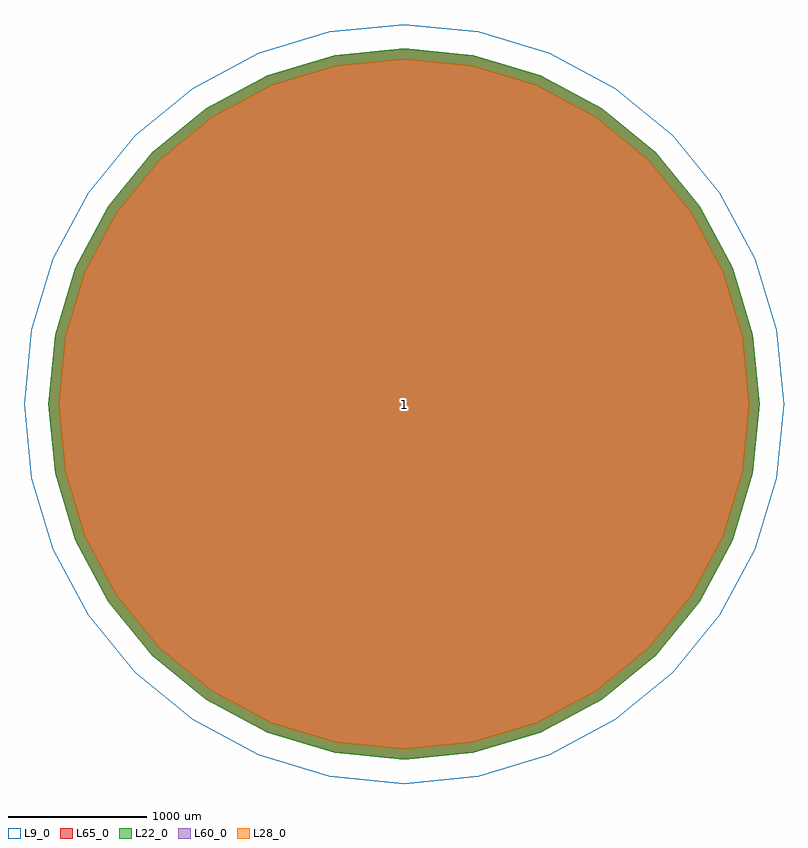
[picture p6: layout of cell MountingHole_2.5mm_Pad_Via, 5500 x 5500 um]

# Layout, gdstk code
import gdstk
lib = gdstk.Library(unit=1e-6, precision=1e-09)
def P(c, l, *ps):  # polygons
    for p in ps: c.add(gdstk.Polygon(p, *l))
L9_0 = (9, 0)
L22_0 = (22, 0)
L28_0 = (28, 0)
L60_0 = (60, 0)
L65_0 = (65, 0)

mountinghole_2_5mm_pad_v = lib.new_cell('MountingHole_2.5mm_Pad_Via')
P(mountinghole_2_5mm_pad_v, L9_0, [(2750,0),(2697.16,536.498),(2540.669,1052.379),(2286.541,1527.818),(1944.544,1944.544),(1527.818,2286.541),(1052.379,2540.669),(536.498,2697.16),(0,2750),(-536.498,2697.16),(-1052.379,2540.669),(-1527.818,2286.541),(-1944.544,1944.544),(-2286.541,1527.818),(-2540.669,1052.379),(-2697.16,536.498),(-2750,0),(-2697.16,-536.498),(-2540.669,-1052.379),(-2286.541,-1527.818),(-1944.544,-1944.544),(-1527.818,-2286.541),(-1052.379,-2540.669),(-536.498,-2697.16),(0,-2750),(536.498,-2697.16),(1052.379,-2540.669),(1527.818,-2286.541),(1944.544,-1944.544),(2286.541,-1527.818),(2540.669,-1052.379),(2697.16,-536.498)],
  [(2500,0),(2451.963,487.726),(2309.699,956.709),(2078.674,1388.926),(1767.767,1767.767),(1388.926,2078.674),(956.709,2309.699),(487.726,2451.963),(0,2500),(-487.726,2451.963),(-956.709,2309.699),(-1388.926,2078.674),(-1767.767,1767.767),(-2078.674,1388.926),(-2309.699,956.709),(-2451.963,487.726),(-2500,0),(-2451.963,-487.726),(-2309.699,-956.709),(-2078.674,-1388.926),(-1767.767,-1767.767),(-1388.926,-2078.674),(-956.709,-2309.699),(-487.726,-2451.963),(0,-2500),(487.726,-2451.963),(956.709,-2309.699),(1388.926,-2078.674),(1767.767,-1767.767),(2078.674,-1388.926),(2309.699,-956.709),(2451.963,-487.726)])
P(mountinghole_2_5mm_pad_v, L22_0, [(1700.825,1325.825),(1693.619,1398.984),(1672.28,1469.331),(1637.626,1534.164),(1590.99,1590.99),(1534.164,1637.626),(1469.331,1672.28),(1398.984,1693.619),(1325.825,1700.825),(1252.666,1693.619),(1182.319,1672.28),(1117.486,1637.626),(1060.66,1590.99),(1014.024,1534.164),(979.37,1469.331),(958.031,1398.984),(950.825,1325.825),(958.031,1252.666),(979.37,1182.319),(1014.024,1117.486),(1060.66,1060.66),(1117.486,1014.024),(1182.319,979.37),(1252.666,958.031),(1325.825,950.825),(1398.984,958.031),(1469.331,979.37),(1534.164,1014.024),(1590.99,1060.66),(1637.626,1117.486),(1672.28,1182.319),(1693.619,1252.666)],
  [(375,1875),(367.794,1948.159),(346.455,2018.506),(311.801,2083.339),(265.165,2140.165),(208.339,2186.801),(143.506,2221.455),(73.159,2242.794),(0,2250),(-73.159,2242.794),(-143.506,2221.455),(-208.339,2186.801),(-265.165,2140.165),(-311.801,2083.339),(-346.455,2018.506),(-367.794,1948.159),(-375,1875),(-367.794,1801.841),(-346.455,1731.494),(-311.801,1666.661),(-265.165,1609.835),(-208.339,1563.199),(-143.506,1528.545),(-73.159,1507.206),(0,1500),(73.159,1507.206),(143.506,1528.545),(208.339,1563.199),(265.165,1609.835),(311.801,1666.661),(346.455,1731.494),(367.794,1801.841)],
  [(-950.825,1325.825),(-958.031,1398.984),(-979.37,1469.331),(-1014.024,1534.164),(-1060.66,1590.99),(-1117.486,1637.626),(-1182.319,1672.28),(-1252.666,1693.619),(-1325.825,1700.825),(-1398.984,1693.619),(-1469.331,1672.28),(-1534.164,1637.626),(-1590.99,1590.99),(-1637.626,1534.164),(-1672.28,1469.331),(-1693.619,1398.984),(-1700.825,1325.825),(-1693.619,1252.666),(-1672.28,1182.319),(-1637.626,1117.486),(-1590.99,1060.66),(-1534.164,1014.024),(-1469.331,979.37),(-1398.984,958.031),(-1325.825,950.825),(-1252.666,958.031),(-1182.319,979.37),(-1117.486,1014.024),(-1060.66,1060.66),(-1014.024,1117.486),(-979.37,1182.319),(-958.031,1252.666)],
  [(-1500,0),(-1507.206,73.159),(-1528.545,143.506),(-1563.199,208.339),(-1609.835,265.165),(-1666.661,311.801),(-1731.494,346.455),(-1801.841,367.794),(-1875,375),(-1948.159,367.794),(-2018.506,346.455),(-2083.339,311.801),(-2140.165,265.165),(-2186.801,208.339),(-2221.455,143.506),(-2242.794,73.159),(-2250,0),(-2242.794,-73.159),(-2221.455,-143.506),(-2186.801,-208.339),(-2140.165,-265.165),(-2083.339,-311.801),(-2018.506,-346.455),(-1948.159,-367.794),(-1875,-375),(-1801.841,-367.794),(-1731.494,-346.455),(-1666.661,-311.801),(-1609.835,-265.165),(-1563.199,-208.339),(-1528.545,-143.506),(-1507.206,-73.159)],
  [(-950.825,-1325.825),(-958.031,-1252.666),(-979.37,-1182.319),(-1014.024,-1117.486),(-1060.66,-1060.66),(-1117.486,-1014.024),(-1182.319,-979.37),(-1252.666,-958.031),(-1325.825,-950.825),(-1398.984,-958.031),(-1469.331,-979.37),(-1534.164,-1014.024),(-1590.99,-1060.66),(-1637.626,-1117.486),(-1672.28,-1182.319),(-1693.619,-1252.666),(-1700.825,-1325.825),(-1693.619,-1398.984),(-1672.28,-1469.331),(-1637.626,-1534.164),(-1590.99,-1590.99),(-1534.164,-1637.626),(-1469.331,-1672.28),(-1398.984,-1693.619),(-1325.825,-1700.825),(-1252.666,-1693.619),(-1182.319,-1672.28),(-1117.486,-1637.626),(-1060.66,-1590.99),(-1014.024,-1534.164),(-979.37,-1469.331),(-958.031,-1398.984)],
  [(375,-1875),(367.794,-1801.841),(346.455,-1731.494),(311.801,-1666.661),(265.165,-1609.835),(208.339,-1563.199),(143.506,-1528.545),(73.159,-1507.206),(0,-1500),(-73.159,-1507.206),(-143.506,-1528.545),(-208.339,-1563.199),(-265.165,-1609.835),(-311.801,-1666.661),(-346.455,-1731.494),(-367.794,-1801.841),(-375,-1875),(-367.794,-1948.159),(-346.455,-2018.506),(-311.801,-2083.339),(-265.165,-2140.165),(-208.339,-2186.801),(-143.506,-2221.455),(-73.159,-2242.794),(0,-2250),(73.159,-2242.794),(143.506,-2221.455),(208.339,-2186.801),(265.165,-2140.165),(311.801,-2083.339),(346.455,-2018.506),(367.794,-1948.159)],
  [(1700.825,-1325.825),(1693.619,-1252.666),(1672.28,-1182.319),(1637.626,-1117.486),(1590.99,-1060.66),(1534.164,-1014.024),(1469.331,-979.37),(1398.984,-958.031),(1325.825,-950.825),(1252.666,-958.031),(1182.319,-979.37),(1117.486,-1014.024),(1060.66,-1060.66),(1014.024,-1117.486),(979.37,-1182.319),(958.031,-1252.666),(950.825,-1325.825),(958.031,-1398.984),(979.37,-1469.331),(1014.024,-1534.164),(1060.66,-1590.99),(1117.486,-1637.626),(1182.319,-1672.28),(1252.666,-1693.619),(1325.825,-1700.825),(1398.984,-1693.619),(1469.331,-1672.28),(1534.164,-1637.626),(1590.99,-1590.99),(1637.626,-1534.164),(1672.28,-1469.331),(1693.619,-1398.984)],
  [(2250,0),(2242.794,73.159),(2221.455,143.506),(2186.801,208.339),(2140.165,265.165),(2083.339,311.801),(2018.506,346.455),(1948.159,367.794),(1875,375),(1801.841,367.794),(1731.494,346.455),(1666.661,311.801),(1609.835,265.165),(1563.199,208.339),(1528.545,143.506),(1507.206,73.159),(1500,0),(1507.206,-73.159),(1528.545,-143.506),(1563.199,-208.339),(1609.835,-265.165),(1666.661,-311.801),(1731.494,-346.455),(1801.841,-367.794),(1875,-375),(1948.159,-367.794),(2018.506,-346.455),(2083.339,-311.801),(2140.165,-265.165),(2186.801,-208.339),(2221.455,-143.506),(2242.794,-73.159)],
  [(2575,0),(2525.522,502.358),(2378.99,985.41),(2141.034,1430.593),(1820.8,1820.8),(1430.593,2141.034),(985.41,2378.99),(502.358,2525.522),(0,2575),(-502.358,2525.522),(-985.41,2378.99),(-1430.593,2141.034),(-1820.8,1820.8),(-2141.034,1430.593),(-2378.99,985.41),(-2525.522,502.358),(-2575,0),(-2525.522,-502.358),(-2378.99,-985.41),(-2141.034,-1430.593),(-1820.8,-1820.8),(-1430.593,-2141.034),(-985.41,-2378.99),(-502.358,-2525.522),(0,-2575),(502.358,-2525.522),(985.41,-2378.99),(1430.593,-2141.034),(1820.8,-1820.8),(2141.034,-1430.593),(2378.99,-985.41),(2525.522,-502.358)])
P(mountinghole_2_5mm_pad_v, L28_0, [(1625.825,1325.825),(1620.061,1384.352),(1602.989,1440.63),(1575.266,1492.496),(1537.957,1537.957),(1492.496,1575.266),(1440.63,1602.989),(1384.352,1620.061),(1325.825,1625.825),(1267.298,1620.061),(1211.02,1602.989),(1159.154,1575.266),(1113.693,1537.957),(1076.384,1492.496),(1048.661,1440.63),(1031.589,1384.352),(1025.825,1325.825),(1031.589,1267.298),(1048.661,1211.02),(1076.384,1159.154),(1113.693,1113.693),(1159.154,1076.384),(1211.02,1048.661),(1267.298,1031.589),(1325.825,1025.825),(1384.352,1031.589),(1440.63,1048.661),(1492.496,1076.384),(1537.957,1113.693),(1575.266,1159.154),(1602.989,1211.02),(1620.061,1267.298)],
  [(300,1875),(294.236,1933.527),(277.164,1989.805),(249.441,2041.671),(212.132,2087.132),(166.671,2124.441),(114.805,2152.164),(58.527,2169.236),(0,2175),(-58.527,2169.236),(-114.805,2152.164),(-166.671,2124.441),(-212.132,2087.132),(-249.441,2041.671),(-277.164,1989.805),(-294.236,1933.527),(-300,1875),(-294.236,1816.473),(-277.164,1760.195),(-249.441,1708.329),(-212.132,1662.868),(-166.671,1625.559),(-114.805,1597.836),(-58.527,1580.764),(0,1575),(58.527,1580.764),(114.805,1597.836),(166.671,1625.559),(212.132,1662.868),(249.441,1708.329),(277.164,1760.195),(294.236,1816.473)],
  [(-1025.825,1325.825),(-1031.589,1384.352),(-1048.661,1440.63),(-1076.384,1492.496),(-1113.693,1537.957),(-1159.154,1575.266),(-1211.02,1602.989),(-1267.298,1620.061),(-1325.825,1625.825),(-1384.352,1620.061),(-1440.63,1602.989),(-1492.496,1575.266),(-1537.957,1537.957),(-1575.266,1492.496),(-1602.989,1440.63),(-1620.061,1384.352),(-1625.825,1325.825),(-1620.061,1267.298),(-1602.989,1211.02),(-1575.266,1159.154),(-1537.957,1113.693),(-1492.496,1076.384),(-1440.63,1048.661),(-1384.352,1031.589),(-1325.825,1025.825),(-1267.298,1031.589),(-1211.02,1048.661),(-1159.154,1076.384),(-1113.693,1113.693),(-1076.384,1159.154),(-1048.661,1211.02),(-1031.589,1267.298)],
  [(-1575,0),(-1580.764,58.527),(-1597.836,114.805),(-1625.559,166.671),(-1662.868,212.132),(-1708.329,249.441),(-1760.195,277.164),(-1816.473,294.236),(-1875,300),(-1933.527,294.236),(-1989.805,277.164),(-2041.671,249.441),(-2087.132,212.132),(-2124.441,166.671),(-2152.164,114.805),(-2169.236,58.527),(-2175,0),(-2169.236,-58.527),(-2152.164,-114.805),(-2124.441,-166.671),(-2087.132,-212.132),(-2041.671,-249.441),(-1989.805,-277.164),(-1933.527,-294.236),(-1875,-300),(-1816.473,-294.236),(-1760.195,-277.164),(-1708.329,-249.441),(-1662.868,-212.132),(-1625.559,-166.671),(-1597.836,-114.805),(-1580.764,-58.527)],
  [(-1025.825,-1325.825),(-1031.589,-1267.298),(-1048.661,-1211.02),(-1076.384,-1159.154),(-1113.693,-1113.693),(-1159.154,-1076.384),(-1211.02,-1048.661),(-1267.298,-1031.589),(-1325.825,-1025.825),(-1384.352,-1031.589),(-1440.63,-1048.661),(-1492.496,-1076.384),(-1537.957,-1113.693),(-1575.266,-1159.154),(-1602.989,-1211.02),(-1620.061,-1267.298),(-1625.825,-1325.825),(-1620.061,-1384.352),(-1602.989,-1440.63),(-1575.266,-1492.496),(-1537.957,-1537.957),(-1492.496,-1575.266),(-1440.63,-1602.989),(-1384.352,-1620.061),(-1325.825,-1625.825),(-1267.298,-1620.061),(-1211.02,-1602.989),(-1159.154,-1575.266),(-1113.693,-1537.957),(-1076.384,-1492.496),(-1048.661,-1440.63),(-1031.589,-1384.352)],
  [(300,-1875),(294.236,-1816.473),(277.164,-1760.195),(249.441,-1708.329),(212.132,-1662.868),(166.671,-1625.559),(114.805,-1597.836),(58.527,-1580.764),(0,-1575),(-58.527,-1580.764),(-114.805,-1597.836),(-166.671,-1625.559),(-212.132,-1662.868),(-249.441,-1708.329),(-277.164,-1760.195),(-294.236,-1816.473),(-300,-1875),(-294.236,-1933.527),(-277.164,-1989.805),(-249.441,-2041.671),(-212.132,-2087.132),(-166.671,-2124.441),(-114.805,-2152.164),(-58.527,-2169.236),(0,-2175),(58.527,-2169.236),(114.805,-2152.164),(166.671,-2124.441),(212.132,-2087.132),(249.441,-2041.671),(277.164,-1989.805),(294.236,-1933.527)],
  [(1625.825,-1325.825),(1620.061,-1267.298),(1602.989,-1211.02),(1575.266,-1159.154),(1537.957,-1113.693),(1492.496,-1076.384),(1440.63,-1048.661),(1384.352,-1031.589),(1325.825,-1025.825),(1267.298,-1031.589),(1211.02,-1048.661),(1159.154,-1076.384),(1113.693,-1113.693),(1076.384,-1159.154),(1048.661,-1211.02),(1031.589,-1267.298),(1025.825,-1325.825),(1031.589,-1384.352),(1048.661,-1440.63),(1076.384,-1492.496),(1113.693,-1537.957),(1159.154,-1575.266),(1211.02,-1602.989),(1267.298,-1620.061),(1325.825,-1625.825),(1384.352,-1620.061),(1440.63,-1602.989),(1492.496,-1575.266),(1537.957,-1537.957),(1575.266,-1492.496),(1602.989,-1440.63),(1620.061,-1384.352)],
  [(2175,0),(2169.236,58.527),(2152.164,114.805),(2124.441,166.671),(2087.132,212.132),(2041.671,249.441),(1989.805,277.164),(1933.527,294.236),(1875,300),(1816.473,294.236),(1760.195,277.164),(1708.329,249.441),(1662.868,212.132),(1625.559,166.671),(1597.836,114.805),(1580.764,58.527),(1575,0),(1580.764,-58.527),(1597.836,-114.805),(1625.559,-166.671),(1662.868,-212.132),(1708.329,-249.441),(1760.195,-277.164),(1816.473,-294.236),(1875,-300),(1933.527,-294.236),(1989.805,-277.164),(2041.671,-249.441),(2087.132,-212.132),(2124.441,-166.671),(2152.164,-114.805),(2169.236,-58.527)],
  [(2500,0),(2451.963,487.726),(2309.699,956.709),(2078.674,1388.926),(1767.767,1767.767),(1388.926,2078.674),(956.709,2309.699),(487.726,2451.963),(0,2500),(-487.726,2451.963),(-956.709,2309.699),(-1388.926,2078.674),(-1767.767,1767.767),(-2078.674,1388.926),(-2309.699,956.709),(-2451.963,487.726),(-2500,0),(-2451.963,-487.726),(-2309.699,-956.709),(-2078.674,-1388.926),(-1767.767,-1767.767),(-1388.926,-2078.674),(-956.709,-2309.699),(-487.726,-2451.963),(0,-2500),(487.726,-2451.963),(956.709,-2309.699),(1388.926,-2078.674),(1767.767,-1767.767),(2078.674,-1388.926),(2309.699,-956.709),(2451.963,-487.726)])
P(mountinghole_2_5mm_pad_v, L60_0, [(1625.825,1325.825),(1620.061,1384.352),(1602.989,1440.63),(1575.266,1492.496),(1537.957,1537.957),(1492.496,1575.266),(1440.63,1602.989),(1384.352,1620.061),(1325.825,1625.825),(1267.298,1620.061),(1211.02,1602.989),(1159.154,1575.266),(1113.693,1537.957),(1076.384,1492.496),(1048.661,1440.63),(1031.589,1384.352),(1025.825,1325.825),(1031.589,1267.298),(1048.661,1211.02),(1076.384,1159.154),(1113.693,1113.693),(1159.154,1076.384),(1211.02,1048.661),(1267.298,1031.589),(1325.825,1025.825),(1384.352,1031.589),(1440.63,1048.661),(1492.496,1076.384),(1537.957,1113.693),(1575.266,1159.154),(1602.989,1211.02),(1620.061,1267.298)],
  [(300,1875),(294.236,1933.527),(277.164,1989.805),(249.441,2041.671),(212.132,2087.132),(166.671,2124.441),(114.805,2152.164),(58.527,2169.236),(0,2175),(-58.527,2169.236),(-114.805,2152.164),(-166.671,2124.441),(-212.132,2087.132),(-249.441,2041.671),(-277.164,1989.805),(-294.236,1933.527),(-300,1875),(-294.236,1816.473),(-277.164,1760.195),(-249.441,1708.329),(-212.132,1662.868),(-166.671,1625.559),(-114.805,1597.836),(-58.527,1580.764),(0,1575),(58.527,1580.764),(114.805,1597.836),(166.671,1625.559),(212.132,1662.868),(249.441,1708.329),(277.164,1760.195),(294.236,1816.473)],
  [(-1025.825,1325.825),(-1031.589,1384.352),(-1048.661,1440.63),(-1076.384,1492.496),(-1113.693,1537.957),(-1159.154,1575.266),(-1211.02,1602.989),(-1267.298,1620.061),(-1325.825,1625.825),(-1384.352,1620.061),(-1440.63,1602.989),(-1492.496,1575.266),(-1537.957,1537.957),(-1575.266,1492.496),(-1602.989,1440.63),(-1620.061,1384.352),(-1625.825,1325.825),(-1620.061,1267.298),(-1602.989,1211.02),(-1575.266,1159.154),(-1537.957,1113.693),(-1492.496,1076.384),(-1440.63,1048.661),(-1384.352,1031.589),(-1325.825,1025.825),(-1267.298,1031.589),(-1211.02,1048.661),(-1159.154,1076.384),(-1113.693,1113.693),(-1076.384,1159.154),(-1048.661,1211.02),(-1031.589,1267.298)],
  [(-1575,0),(-1580.764,58.527),(-1597.836,114.805),(-1625.559,166.671),(-1662.868,212.132),(-1708.329,249.441),(-1760.195,277.164),(-1816.473,294.236),(-1875,300),(-1933.527,294.236),(-1989.805,277.164),(-2041.671,249.441),(-2087.132,212.132),(-2124.441,166.671),(-2152.164,114.805),(-2169.236,58.527),(-2175,0),(-2169.236,-58.527),(-2152.164,-114.805),(-2124.441,-166.671),(-2087.132,-212.132),(-2041.671,-249.441),(-1989.805,-277.164),(-1933.527,-294.236),(-1875,-300),(-1816.473,-294.236),(-1760.195,-277.164),(-1708.329,-249.441),(-1662.868,-212.132),(-1625.559,-166.671),(-1597.836,-114.805),(-1580.764,-58.527)],
  [(-1025.825,-1325.825),(-1031.589,-1267.298),(-1048.661,-1211.02),(-1076.384,-1159.154),(-1113.693,-1113.693),(-1159.154,-1076.384),(-1211.02,-1048.661),(-1267.298,-1031.589),(-1325.825,-1025.825),(-1384.352,-1031.589),(-1440.63,-1048.661),(-1492.496,-1076.384),(-1537.957,-1113.693),(-1575.266,-1159.154),(-1602.989,-1211.02),(-1620.061,-1267.298),(-1625.825,-1325.825),(-1620.061,-1384.352),(-1602.989,-1440.63),(-1575.266,-1492.496),(-1537.957,-1537.957),(-1492.496,-1575.266),(-1440.63,-1602.989),(-1384.352,-1620.061),(-1325.825,-1625.825),(-1267.298,-1620.061),(-1211.02,-1602.989),(-1159.154,-1575.266),(-1113.693,-1537.957),(-1076.384,-1492.496),(-1048.661,-1440.63),(-1031.589,-1384.352)],
  [(300,-1875),(294.236,-1816.473),(277.164,-1760.195),(249.441,-1708.329),(212.132,-1662.868),(166.671,-1625.559),(114.805,-1597.836),(58.527,-1580.764),(0,-1575),(-58.527,-1580.764),(-114.805,-1597.836),(-166.671,-1625.559),(-212.132,-1662.868),(-249.441,-1708.329),(-277.164,-1760.195),(-294.236,-1816.473),(-300,-1875),(-294.236,-1933.527),(-277.164,-1989.805),(-249.441,-2041.671),(-212.132,-2087.132),(-166.671,-2124.441),(-114.805,-2152.164),(-58.527,-2169.236),(0,-2175),(58.527,-2169.236),(114.805,-2152.164),(166.671,-2124.441),(212.132,-2087.132),(249.441,-2041.671),(277.164,-1989.805),(294.236,-1933.527)],
  [(1625.825,-1325.825),(1620.061,-1267.298),(1602.989,-1211.02),(1575.266,-1159.154),(1537.957,-1113.693),(1492.496,-1076.384),(1440.63,-1048.661),(1384.352,-1031.589),(1325.825,-1025.825),(1267.298,-1031.589),(1211.02,-1048.661),(1159.154,-1076.384),(1113.693,-1113.693),(1076.384,-1159.154),(1048.661,-1211.02),(1031.589,-1267.298),(1025.825,-1325.825),(1031.589,-1384.352),(1048.661,-1440.63),(1076.384,-1492.496),(1113.693,-1537.957),(1159.154,-1575.266),(1211.02,-1602.989),(1267.298,-1620.061),(1325.825,-1625.825),(1384.352,-1620.061),(1440.63,-1602.989),(1492.496,-1575.266),(1537.957,-1537.957),(1575.266,-1492.496),(1602.989,-1440.63),(1620.061,-1384.352)],
  [(2175,0),(2169.236,58.527),(2152.164,114.805),(2124.441,166.671),(2087.132,212.132),(2041.671,249.441),(1989.805,277.164),(1933.527,294.236),(1875,300),(1816.473,294.236),(1760.195,277.164),(1708.329,249.441),(1662.868,212.132),(1625.559,166.671),(1597.836,114.805),(1580.764,58.527),(1575,0),(1580.764,-58.527),(1597.836,-114.805),(1625.559,-166.671),(1662.868,-212.132),(1708.329,-249.441),(1760.195,-277.164),(1816.473,-294.236),(1875,-300),(1933.527,-294.236),(1989.805,-277.164),(2041.671,-249.441),(2087.132,-212.132),(2124.441,-166.671),(2152.164,-114.805),(2169.236,-58.527)],
  [(2500,0),(2451.963,487.726),(2309.699,956.709),(2078.674,1388.926),(1767.767,1767.767),(1388.926,2078.674),(956.709,2309.699),(487.726,2451.963),(0,2500),(-487.726,2451.963),(-956.709,2309.699),(-1388.926,2078.674),(-1767.767,1767.767),(-2078.674,1388.926),(-2309.699,956.709),(-2451.963,487.726),(-2500,0),(-2451.963,-487.726),(-2309.699,-956.709),(-2078.674,-1388.926),(-1767.767,-1767.767),(-1388.926,-2078.674),(-956.709,-2309.699),(-487.726,-2451.963),(0,-2500),(487.726,-2451.963),(956.709,-2309.699),(1388.926,-2078.674),(1767.767,-1767.767),(2078.674,-1388.926),(2309.699,-956.709),(2451.963,-487.726)])
P(mountinghole_2_5mm_pad_v, L65_0, [(1700.825,1325.825),(1693.619,1398.984),(1672.28,1469.331),(1637.626,1534.164),(1590.99,1590.99),(1534.164,1637.626),(1469.331,1672.28),(1398.984,1693.619),(1325.825,1700.825),(1252.666,1693.619),(1182.319,1672.28),(1117.486,1637.626),(1060.66,1590.99),(1014.024,1534.164),(979.37,1469.331),(958.031,1398.984),(950.825,1325.825),(958.031,1252.666),(979.37,1182.319),(1014.024,1117.486),(1060.66,1060.66),(1117.486,1014.024),(1182.319,979.37),(1252.666,958.031),(1325.825,950.825),(1398.984,958.031),(1469.331,979.37),(1534.164,1014.024),(1590.99,1060.66),(1637.626,1117.486),(1672.28,1182.319),(1693.619,1252.666)],
  [(375,1875),(367.794,1948.159),(346.455,2018.506),(311.801,2083.339),(265.165,2140.165),(208.339,2186.801),(143.506,2221.455),(73.159,2242.794),(0,2250),(-73.159,2242.794),(-143.506,2221.455),(-208.339,2186.801),(-265.165,2140.165),(-311.801,2083.339),(-346.455,2018.506),(-367.794,1948.159),(-375,1875),(-367.794,1801.841),(-346.455,1731.494),(-311.801,1666.661),(-265.165,1609.835),(-208.339,1563.199),(-143.506,1528.545),(-73.159,1507.206),(0,1500),(73.159,1507.206),(143.506,1528.545),(208.339,1563.199),(265.165,1609.835),(311.801,1666.661),(346.455,1731.494),(367.794,1801.841)],
  [(-950.825,1325.825),(-958.031,1398.984),(-979.37,1469.331),(-1014.024,1534.164),(-1060.66,1590.99),(-1117.486,1637.626),(-1182.319,1672.28),(-1252.666,1693.619),(-1325.825,1700.825),(-1398.984,1693.619),(-1469.331,1672.28),(-1534.164,1637.626),(-1590.99,1590.99),(-1637.626,1534.164),(-1672.28,1469.331),(-1693.619,1398.984),(-1700.825,1325.825),(-1693.619,1252.666),(-1672.28,1182.319),(-1637.626,1117.486),(-1590.99,1060.66),(-1534.164,1014.024),(-1469.331,979.37),(-1398.984,958.031),(-1325.825,950.825),(-1252.666,958.031),(-1182.319,979.37),(-1117.486,1014.024),(-1060.66,1060.66),(-1014.024,1117.486),(-979.37,1182.319),(-958.031,1252.666)],
  [(-1500,0),(-1507.206,73.159),(-1528.545,143.506),(-1563.199,208.339),(-1609.835,265.165),(-1666.661,311.801),(-1731.494,346.455),(-1801.841,367.794),(-1875,375),(-1948.159,367.794),(-2018.506,346.455),(-2083.339,311.801),(-2140.165,265.165),(-2186.801,208.339),(-2221.455,143.506),(-2242.794,73.159),(-2250,0),(-2242.794,-73.159),(-2221.455,-143.506),(-2186.801,-208.339),(-2140.165,-265.165),(-2083.339,-311.801),(-2018.506,-346.455),(-1948.159,-367.794),(-1875,-375),(-1801.841,-367.794),(-1731.494,-346.455),(-1666.661,-311.801),(-1609.835,-265.165),(-1563.199,-208.339),(-1528.545,-143.506),(-1507.206,-73.159)],
  [(-950.825,-1325.825),(-958.031,-1252.666),(-979.37,-1182.319),(-1014.024,-1117.486),(-1060.66,-1060.66),(-1117.486,-1014.024),(-1182.319,-979.37),(-1252.666,-958.031),(-1325.825,-950.825),(-1398.984,-958.031),(-1469.331,-979.37),(-1534.164,-1014.024),(-1590.99,-1060.66),(-1637.626,-1117.486),(-1672.28,-1182.319),(-1693.619,-1252.666),(-1700.825,-1325.825),(-1693.619,-1398.984),(-1672.28,-1469.331),(-1637.626,-1534.164),(-1590.99,-1590.99),(-1534.164,-1637.626),(-1469.331,-1672.28),(-1398.984,-1693.619),(-1325.825,-1700.825),(-1252.666,-1693.619),(-1182.319,-1672.28),(-1117.486,-1637.626),(-1060.66,-1590.99),(-1014.024,-1534.164),(-979.37,-1469.331),(-958.031,-1398.984)],
  [(375,-1875),(367.794,-1801.841),(346.455,-1731.494),(311.801,-1666.661),(265.165,-1609.835),(208.339,-1563.199),(143.506,-1528.545),(73.159,-1507.206),(0,-1500),(-73.159,-1507.206),(-143.506,-1528.545),(-208.339,-1563.199),(-265.165,-1609.835),(-311.801,-1666.661),(-346.455,-1731.494),(-367.794,-1801.841),(-375,-1875),(-367.794,-1948.159),(-346.455,-2018.506),(-311.801,-2083.339),(-265.165,-2140.165),(-208.339,-2186.801),(-143.506,-2221.455),(-73.159,-2242.794),(0,-2250),(73.159,-2242.794),(143.506,-2221.455),(208.339,-2186.801),(265.165,-2140.165),(311.801,-2083.339),(346.455,-2018.506),(367.794,-1948.159)],
  [(1700.825,-1325.825),(1693.619,-1252.666),(1672.28,-1182.319),(1637.626,-1117.486),(1590.99,-1060.66),(1534.164,-1014.024),(1469.331,-979.37),(1398.984,-958.031),(1325.825,-950.825),(1252.666,-958.031),(1182.319,-979.37),(1117.486,-1014.024),(1060.66,-1060.66),(1014.024,-1117.486),(979.37,-1182.319),(958.031,-1252.666),(950.825,-1325.825),(958.031,-1398.984),(979.37,-1469.331),(1014.024,-1534.164),(1060.66,-1590.99),(1117.486,-1637.626),(1182.319,-1672.28),(1252.666,-1693.619),(1325.825,-1700.825),(1398.984,-1693.619),(1469.331,-1672.28),(1534.164,-1637.626),(1590.99,-1590.99),(1637.626,-1534.164),(1672.28,-1469.331),(1693.619,-1398.984)],
  [(2250,0),(2242.794,73.159),(2221.455,143.506),(2186.801,208.339),(2140.165,265.165),(2083.339,311.801),(2018.506,346.455),(1948.159,367.794),(1875,375),(1801.841,367.794),(1731.494,346.455),(1666.661,311.801),(1609.835,265.165),(1563.199,208.339),(1528.545,143.506),(1507.206,73.159),(1500,0),(1507.206,-73.159),(1528.545,-143.506),(1563.199,-208.339),(1609.835,-265.165),(1666.661,-311.801),(1731.494,-346.455),(1801.841,-367.794),(1875,-375),(1948.159,-367.794),(2018.506,-346.455),(2083.339,-311.801),(2140.165,-265.165),(2186.801,-208.339),(2221.455,-143.506),(2242.794,-73.159)],
  [(2575,0),(2525.522,502.358),(2378.99,985.41),(2141.034,1430.593),(1820.8,1820.8),(1430.593,2141.034),(985.41,2378.99),(502.358,2525.522),(0,2575),(-502.358,2525.522),(-985.41,2378.99),(-1430.593,2141.034),(-1820.8,1820.8),(-2141.034,1430.593),(-2378.99,985.41),(-2525.522,502.358),(-2575,0),(-2525.522,-502.358),(-2378.99,-985.41),(-2141.034,-1430.593),(-1820.8,-1820.8),(-1430.593,-2141.034),(-985.41,-2378.99),(-502.358,-2525.522),(0,-2575),(502.358,-2525.522),(985.41,-2378.99),(1430.593,-2141.034),(1820.8,-1820.8),(2141.034,-1430.593),(2378.99,-985.41),(2525.522,-502.358)])
mountinghole_2_5mm_pad_v.add(gdstk.Label('1', (0,0), layer=28, texttype=0))
mountinghole_2_5mm_pad_v.add(gdstk.Label('type', (0,-3500), layer=9, texttype=0))
mountinghole_2_5mm_pad_v.add(gdstk.Label('devicename', (0,3500), layer=9, texttype=0))

lib.write_gds('MountingHole_2.5mm_Pad_Via.gds')
